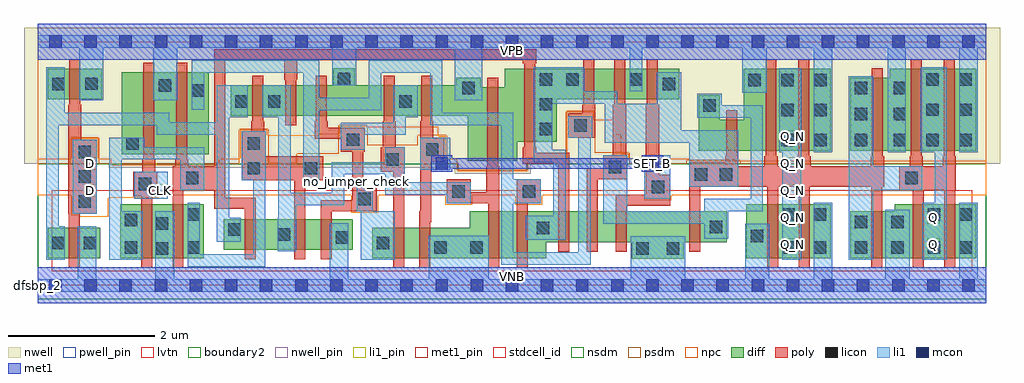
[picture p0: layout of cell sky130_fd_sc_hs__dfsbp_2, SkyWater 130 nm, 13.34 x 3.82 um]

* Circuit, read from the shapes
.subckt sky130_fd_sc_hs__dfsbp_2 CLK D Q Q_N SET_B VGND VNB VPB VPWR
XM1 VGND D n1 VNB sky130_fd_pr__nfet_01v8_lvt w=0.42 l=0.15
XM2 VGND CLK n2 VNB sky130_fd_pr__nfet_01v8_lvt w=0.74 l=0.15
XM3 n3 n2 VGND VNB sky130_fd_pr__nfet_01v8_lvt w=0.74 l=0.15
XM4 n4 n2 n1 VNB sky130_fd_pr__nfet_01v8_lvt w=0.42 l=0.15
XM5 n5 n3 n4 VNB sky130_fd_pr__nfet_01v8_lvt w=0.42 l=0.15
XM6 VGND n6 n5 VNB sky130_fd_pr__nfet_01v8_lvt w=0.42 l=0.15
XM7 n7 n4 n6 VNB sky130_fd_pr__nfet_01v8_lvt w=0.42 l=0.15
XM8 VGND SET_B n7 VNB sky130_fd_pr__nfet_01v8_lvt w=0.42 l=0.15
XM9 n8 n4 VGND VNB sky130_fd_pr__nfet_01v8_lvt w=0.64 l=0.15
XM10 n9 n3 n8 VNB sky130_fd_pr__nfet_01v8_lvt w=0.64 l=0.15
XM11 n10 n2 n9 VNB sky130_fd_pr__nfet_01v8_lvt w=0.42 l=0.15
XM12 n11 n12 n10 VNB sky130_fd_pr__nfet_01v8_lvt w=0.42 l=0.15
XM13 VGND SET_B n11 VNB sky130_fd_pr__nfet_01v8_lvt w=0.42 l=0.15
XM14 n12 n9 VGND VNB sky130_fd_pr__nfet_01v8_lvt w=0.42 l=0.15
XM15 Q_N n9 VGND VNB sky130_fd_pr__nfet_01v8_lvt w=0.74 l=0.15 m=2
XM16 VGND n9 n13 VNB sky130_fd_pr__nfet_01v8_lvt w=0.64 l=0.15
XM17 Q n13 VGND VNB sky130_fd_pr__nfet_01v8_lvt w=0.74 l=0.15 m=2
XM18 VPWR D n1 VPB sky130_fd_pr__pfet_01v8 w=0.42 l=0.15
XM19 VPWR CLK n2 VPB sky130_fd_pr__pfet_01v8 w=1.12 l=0.15
XM20 n3 n2 VPWR VPB sky130_fd_pr__pfet_01v8 w=1.12 l=0.15
XM21 n4 n3 n1 VPB sky130_fd_pr__pfet_01v8 w=0.42 l=0.15
XM22 n14 n2 n4 VPB sky130_fd_pr__pfet_01v8 w=0.42 l=0.15
XM23 VPWR n6 n14 VPB sky130_fd_pr__pfet_01v8 w=0.42 l=0.15
XM24 n6 n4 VPWR VPB sky130_fd_pr__pfet_01v8 w=0.42 l=0.15
XM25 VPWR SET_B n6 VPB sky130_fd_pr__pfet_01v8 w=0.42 l=0.15
XM26 n15 n4 VPWR VPB sky130_fd_pr__pfet_01v8 w=1 l=0.15
XM27 n9 n2 n15 VPB sky130_fd_pr__pfet_01v8 w=1 l=0.15
XM28 n16 n3 n9 VPB sky130_fd_pr__pfet_01v8 w=0.42 l=0.15
XM29 VPWR n12 n16 VPB sky130_fd_pr__pfet_01v8 w=0.42 l=0.15
XM30 n9 SET_B VPWR VPB sky130_fd_pr__pfet_01v8 w=0.42 l=0.15
XM31 VPWR n9 n12 VPB sky130_fd_pr__pfet_01v8 w=0.42 l=0.15
XM32 Q_N n9 VPWR VPB sky130_fd_pr__pfet_01v8 w=1.12 l=0.15 m=2
XM33 VPWR n9 n13 VPB sky130_fd_pr__pfet_01v8 w=1 l=0.15
XM34 Q n13 VPWR VPB sky130_fd_pr__pfet_01v8 w=1.12 l=0.15 m=2
.ends

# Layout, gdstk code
import gdstk
lib = gdstk.Library(unit=1e-6, precision=1e-09)
def R(c, l, rs):  # rectangles x0, y0, x1, y1
    for r in rs: c.add(gdstk.rectangle(r[:2], r[2:], *l))
def A(c, l, x, y, w, h, nx, ny, dx, dy):  # array of equal rectangles
    R(c, l, [(x+i*dx, y+j*dy, x+i*dx+w, y+j*dy+h) for i in range(nx) for j in range(ny)])
def P(c, l, *ps):  # polygons
    for p in ps: c.add(gdstk.Polygon(p, *l))
nwell_pin = (64, 16)
nwell = (64, 20)
diff = (65, 20)
poly = (66, 20)
licon = (66, 44)
li1_pin = (67, 16)
li1 = (67, 20)
mcon = (67, 44)
met1_pin = (68, 16)
met1 = (68, 20)
stdcell_id = (81, 4)
nsdm = (93, 44)
psdm = (94, 20)
npc = (95, 20)
pwell_pin = (122, 16)
lvtn = (125, 44)
boundary2 = (236, 0)

sky130_fd_sc_hs__dfsbp_2 = lib.new_cell('sky130_fd_sc_hs__dfsbp_2')
R(sky130_fd_sc_hs__dfsbp_2, nwell_pin, [(0,3.085,12.96,3.33)])
P(sky130_fd_sc_hs__dfsbp_2, nwell, [(13.15,3.52),(-0.19,3.52),(-0.19,1.66),(0.965,1.66),(0.965,1.61),(5.695,1.61),(5.695,1.525),(6.735,1.525),(6.735,1.66),(13.15,1.66)])
R(sky130_fd_sc_hs__dfsbp_2, diff, [(0.135,0.37,0.855,0.79), (1.125,0.37,2.27,1.11), (9.685,0.37,10.835,1.11), (2.54,0.485,4.3,0.905), (1.145,1.79,2.335,2.91), (0.135,2.54,0.875,2.96)])
P(sky130_fd_sc_hs__dfsbp_2, diff, [(8.765,2.96),(6.38,2.96),(6.38,2.705),(6.05,2.705),(6.05,2.84),(5.72,2.84),(5.72,2.735),(4.33,2.735),(4.33,2.965),(4.04,2.965),(4.04,2.735),(2.635,2.735),(2.635,2.315),(5.875,2.315),(5.875,1.705),(6.555,1.705),(6.555,1.96),(7.09,1.96),(7.09,2.54),(8.765,2.54)],
  [(9.415,1.01),(5.905,1.01),(5.905,0.79),(4.57,0.79),(4.57,0.37),(6.945,0.37),(6.945,0.59),(8.12,0.59),(8.12,0.36),(8.825,0.36),(8.825,0.59),(9.415,0.59)],
  [(10.835,2.96),(9.65,2.96),(9.65,2.26),(9.32,2.26),(9.32,2.6),(9.035,2.6),(9.035,1.84),(10.835,1.84)],
  [(12.825,2.96),(11.64,2.96),(11.64,2.84),(11.105,2.84),(11.105,1.84),(12.825,1.84)],
  [(12.825,1.11),(11.71,1.11),(11.71,1.01),(11.105,1.01),(11.105,0.37),(12.825,0.37)])
P(sky130_fd_sc_hs__dfsbp_2, poly, [(5.555,2.02),(5.405,2.02),(5.405,2.24),(5.39,2.24),(5.39,2.865),(5.24,2.865),(5.24,2.24),(5.225,2.24),(5.225,1.015),(5.215,1.015),(5.215,0.24),(5.365,0.24),(5.365,0.865),(5.375,0.865),(5.375,1.69),(5.555,1.69)],
  [(5.015,1.885),(4.89,1.885),(4.89,2.24),(4.875,2.24),(4.875,2.865),(4.725,2.865),(4.725,2.24),(4.71,2.24),(4.71,1.885),(4.685,1.885),(4.685,1.555),(4.855,1.555),(4.855,0.24),(5.005,0.24),(5.005,1.555),(5.015,1.555)],
  [(7.265,1.81),(6.81,1.81),(6.81,1.885),(6.795,1.885),(6.795,3.035),(6.81,3.035),(6.81,3.225),(2.41,3.225),(2.41,1.63),(2.055,1.63),(2.055,1.715),(2.04,1.715),(2.04,3.04),(1.89,3.04),(1.89,1.715),(1.875,1.715),(1.875,1.63),(1.84,1.63),(1.84,0.24),(1.99,0.24),(1.99,1.3),(2.41,1.3),(2.41,1.045),(2.825,1.045),(2.825,0.355),(2.975,0.355),(2.975,1.195),(2.56,1.195),(2.56,3.075),(3.365,3.075),(3.365,2.81),(3.38,2.81),(3.38,2.185),(3.53,2.185),(3.53,2.81),(3.545,2.81),(3.545,3.075),(6.63,3.075),(6.63,3.035),(6.645,3.035),(6.645,1.885),(6.63,1.885),(6.63,1.66),(7.115,1.66),(7.115,0.46),(7.265,0.46)],
  [(7.62,2.465),(7.605,2.465),(7.605,3.09),(7.455,3.09),(7.455,2.465),(7.44,2.465),(7.44,2.35),(7.25,2.35),(7.25,2.02),(7.62,2.02)],
  [(8.055,1.78),(8.04,1.78),(8.04,2.465),(8.025,2.465),(8.025,3.09),(7.875,3.09),(7.875,2.465),(7.86,2.465),(7.86,1.78),(7.725,1.78),(7.725,1.6),(7.505,1.6),(7.505,0.46),(7.655,0.46),(7.655,1.45),(8.055,1.45)],
  [(8.64,1.51),(8.49,1.51),(8.49,2.465),(8.475,2.465),(8.475,3.09),(8.325,3.09),(8.325,2.465),(8.31,2.465),(8.31,1.24),(7.895,1.24),(7.895,0.46),(8.045,0.46),(8.045,1.09),(8.64,1.09)],
  [(11.565,1.765),(11.55,1.765),(11.55,2.97),(11.4,2.97),(11.4,1.765),(11.385,1.765),(11.385,1.63),(10.56,1.63),(10.56,1.765),(10.545,1.765),(10.545,3.09),(10.395,3.09),(10.395,1.765),(10.38,1.765),(10.38,1.63),(10.11,1.63),(10.11,1.765),(10.095,1.765),(10.095,3.09),(9.945,3.09),(9.945,1.765),(9.93,1.765),(9.93,1.63),(9.575,1.63),(9.575,1.765),(9.56,1.765),(9.56,2.39),(9.41,2.39),(9.41,1.765),(9.395,1.765),(9.395,1.68),(8.9,1.68),(8.9,0.46),(9.05,0.46),(9.05,1.35),(9.97,1.35),(9.97,0.24),(10.12,0.24),(10.12,1.35),(10.4,1.35),(10.4,0.24),(10.55,0.24),(10.55,1.35),(11.39,1.35),(11.39,0.24),(11.54,0.24),(11.54,1.35),(11.565,1.35)],
  [(12.545,1.765),(12.53,1.765),(12.53,3.09),(12.38,3.09),(12.38,1.765),(12.365,1.765),(12.365,1.63),(12.095,1.63),(12.095,1.765),(12.08,1.765),(12.08,3.09),(11.93,3.09),(11.93,1.765),(11.915,1.765),(11.915,1.63),(11.775,1.63),(11.775,1.3),(11.96,1.3),(11.96,0.24),(12.11,0.24),(12.11,1.3),(12.39,1.3),(12.39,0.24),(12.54,0.24),(12.54,1.3),(12.545,1.3)],
  [(6.305,1.63),(6.29,1.63),(6.29,2.835),(6.14,2.835),(6.14,1.63),(6.125,1.63),(6.125,1.27),(5.915,1.27),(5.915,1.45),(5.585,1.45),(5.585,1.12),(6.155,1.12),(6.155,0.24),(6.305,0.24)],
  [(6.875,1.45),(6.545,1.45),(6.545,0.24),(6.695,0.24),(6.695,1.12),(6.875,1.12)],
  [(4.63,1.345),(4.445,1.345),(4.445,1.825),(4.47,1.825),(4.47,2.155),(3.965,2.155),(3.965,2.24),(3.95,2.24),(3.95,2.865),(3.8,2.865),(3.8,2.24),(3.785,2.24),(3.785,2.005),(4.14,2.005),(4.14,1.825),(4.295,1.825),(4.295,1.165),(3.865,1.165),(3.865,0.355),(4.015,0.355),(4.015,1.015),(4.63,1.015)],
  [(3.9,1.765),(3.115,1.765),(3.115,2.105),(3.095,2.105),(3.095,2.24),(3.08,2.24),(3.08,2.865),(2.93,2.865),(2.93,2.24),(2.915,2.24),(2.915,2.105),(2.785,2.105),(2.785,1.435),(3.505,1.435),(3.505,0.355),(3.655,0.355),(3.655,1.435),(3.9,1.435)],
  [(1.63,1.55),(1.605,1.55),(1.605,1.715),(1.59,1.715),(1.59,3.04),(1.44,3.04),(1.44,1.715),(1.425,1.715),(1.425,1.55),(1.3,1.55),(1.3,1.22),(1.41,1.22),(1.41,0.24),(1.56,0.24),(1.56,1.22),(1.63,1.22)],
  [(0.805,1.99),(0.595,1.99),(0.595,2.465),(0.58,2.465),(0.58,3.09),(0.43,3.09),(0.43,2.465),(0.415,2.465),(0.415,0.98),(0.42,0.98),(0.42,0.24),(0.57,0.24),(0.57,0.98),(0.805,0.98)])
A(sky130_fd_sc_hs__dfsbp_2, licon, 11.165, 0.43, 0.17, 0.17, 3, 1, 0.5, 0)
A(sky130_fd_sc_hs__dfsbp_2, licon, 0.555, 1.06, 0.17, 0.17, 1, 3, 0, 0.34)
A(sky130_fd_sc_hs__dfsbp_2, licon, 11.165, 1.9, 0.17, 0.17, 1, 3, 0, 0.355)
A(sky130_fd_sc_hs__dfsbp_2, licon, 11.695, 1.9, 0.17, 0.17, 3, 1, 0.45, 0)
A(sky130_fd_sc_hs__dfsbp_2, licon, 6.86, 2.05, 0.17, 0.17, 1, 3, 0, 0.34)
A(sky130_fd_sc_hs__dfsbp_2, licon, 9.71, 2.72, 0.17, 0.17, 3, 1, 0.45, 0)
R(sky130_fd_sc_hs__dfsbp_2, licon, [(1.615,0.42,1.785,0.59), (8.18,0.42,8.35,0.59), (8.595,0.42,8.765,0.59), (1.185,0.43,1.355,0.6), (2.045,0.43,2.215,0.6), (5.42,0.43,5.59,0.6), (5.91,0.43,6.08,0.6), (10.175,0.43,10.345,0.6), (10.605,0.43,10.775,0.6), (12.595,0.43,12.765,0.6), (0.195,0.495,0.365,0.665), (0.625,0.495,0.795,0.665), (4.63,0.495,4.8,0.665), (4.07,0.57,4.24,0.74), (9.745,0.59,9.915,0.76), (3.28,0.61,3.45,0.78), (2.6,0.675,2.77,0.845), (6.82,0.7,6.99,0.87), (9.185,0.715,9.355,0.885), (1.615,0.76,1.785,0.93), (11.165,0.78,11.335,0.95), (11.665,0.78,11.835,0.95), (1.185,0.805,1.355,0.975), (2.045,0.88,2.215,1.05), (10.175,0.88,10.345,1.05), (10.605,0.88,10.775,1.05), (12.165,0.88,12.335,1.05), (12.595,0.88,12.765,1.05), (4.38,1.095,4.55,1.265), (5.665,1.2,5.835,1.37), (6.625,1.2,6.795,1.37), (8.39,1.26,8.56,1.43), (1.38,1.3,1.55,1.47), (2.025,1.38,2.195,1.55), (11.855,1.38,12.025,1.55), (8.98,1.43,9.15,1.6), (9.32,1.43,9.49,1.6), (2.865,1.515,3.035,1.685), (3.65,1.515,3.82,1.685), (7.805,1.53,7.975,1.7), (4.765,1.635,4.935,1.805), (5.305,1.77,5.475,1.94), (1.205,1.85,1.375,2.02), (2.865,1.855,3.035,2.025), (10.16,1.9,10.33,2.07), (10.61,1.9,10.78,2.07), (4.22,1.905,4.39,2.075), (7.33,2.1,7.5,2.27), (11.695,2.255,11.865,2.425), (10.16,2.31,10.33,2.48), (10.61,2.31,10.78,2.48), (12.145,2.315,12.315,2.485), (12.595,2.315,12.765,2.485), (9.095,2.37,9.265,2.54), (2.695,2.43,2.865,2.6), (3.145,2.43,3.315,2.6), (4.94,2.43,5.11,2.6), (2.105,2.58,2.275,2.75), (5.8,2.61,5.97,2.78), (11.695,2.61,11.865,2.78), (1.655,2.645,1.825,2.815), (0.195,2.665,0.365,2.835), (8.54,2.665,8.71,2.835), (0.645,2.67,0.815,2.84), (7.22,2.73,7.39,2.9), (8.09,2.73,8.26,2.9), (12.145,2.73,12.315,2.9), (12.595,2.73,12.765,2.9), (4.1,2.735,4.27,2.905)])
A(sky130_fd_sc_hs__dfsbp_2, li1_pin, 10.235, 0.47, 0.17, 0.17, 1, 5, 0, 0.37)
R(sky130_fd_sc_hs__dfsbp_2, li1_pin, [(12.155,0.47,12.325,0.64), (12.155,0.84,12.325,1.01), (0.635,1.21,0.805,1.38), (1.595,1.21,1.765,1.38), (0.635,1.58,0.805,1.75)])
R(sky130_fd_sc_hs__dfsbp_2, li1, [(0.475,0.98,0.805,1.99), (1.315,1.18,1.775,1.55), (8.285,1.18,8.64,1.78), (5.225,1.58,5.635,2.02)])
P(sky130_fd_sc_hs__dfsbp_2, li1, [(0.565,2.53),(0.565,3.245),(0,3.245),(0,3.415),(12.96,3.415),(12.96,3.245),(12.845,3.245),(12.845,1.82),(12.595,1.82),(12.595,3.245),(11.865,3.245),(11.865,1.82),(11.615,1.82),(11.615,3.245),(10.86,3.245),(10.86,1.82),(10.605,1.82),(10.605,3.245),(9.96,3.245),(9.96,2.63),(9.63,2.63),(9.63,3.245),(8.26,3.245),(8.26,2.65),(8.09,2.65),(8.09,3.245),(6.07,3.245),(6.07,2.53),(5.7,2.53),(5.7,3.245),(4.35,3.245),(4.35,2.735),(4.02,2.735),(4.02,3.245),(1.905,3.245),(1.905,2.53),(1.575,2.53),(1.575,3.245),(0.895,3.245),(0.895,2.53)],
  [(8.1,0.085),(8.1,0.67),(8.845,0.67),(8.845,0.085),(9.665,0.085),(9.665,0.84),(9.995,0.84),(9.995,0.085),(10.605,0.085),(10.605,1.13),(10.855,1.13),(10.855,0.085),(11.585,0.085),(11.585,1.03),(11.915,1.03),(11.915,0.085),(12.595,0.085),(12.595,1.13),(12.845,1.13),(12.845,0.085),(12.96,0.085),(12.96,-0.085),(0,-0.085),(0,0.085),(0.545,0.085),(0.545,0.81),(0.795,0.81),(0.795,0.085),(1.605,0.085),(1.605,1.01),(1.865,1.01),(1.865,0.085),(3.99,0.085),(3.99,0.845),(4.24,0.845),(4.24,0.085),(5.34,0.085),(5.34,0.68),(6.16,0.68),(6.16,0.085)],
  [(11.085,2.86),(11.415,2.86),(11.415,1.63),(12.085,1.63),(12.085,1.3),(11.415,1.3),(11.415,0.35),(11.085,0.35)],
  [(7.725,0.84),(7.725,1.78),(8.055,1.78),(8.055,1.01),(9.105,1.01),(9.105,1.18),(9.74,1.18),(9.74,2.29),(9.015,2.29),(9.015,2.62),(9.345,2.62),(9.345,2.46),(9.91,2.46),(9.91,1.01),(9.435,1.01),(9.435,0.635),(9.105,0.635),(9.105,0.84)],
  [(7.75,1.95),(7.75,2.48),(7.03,2.48),(7.03,1.85),(7.215,1.85),(7.215,0.62),(6.67,0.62),(6.67,0.95),(7.045,0.95),(7.045,1.68),(6.78,1.68),(6.78,2.98),(7.47,2.98),(7.47,2.65),(7.92,2.65),(7.92,2.48),(8.46,2.48),(8.46,2.915),(8.79,2.915),(8.79,2.12),(9.57,2.12),(9.57,1.35),(8.9,1.35),(8.9,1.95)],
  [(3.285,2.295),(3.065,2.295),(3.065,2.735),(3.455,2.735),(3.455,1.265),(4.015,1.265),(4.015,1.685),(4.75,1.685),(4.75,1.885),(5.015,1.885),(5.015,1.41),(5.915,1.41),(5.915,1.12),(5.585,1.12),(5.585,1.24),(4.75,1.24),(4.75,1.515),(4.185,1.515),(4.185,1.095),(3.53,1.095),(3.53,0.465),(3.28,0.465),(3.28,0.925),(3.285,0.925)],
  [(1.455,1.89),(2.275,1.89),(2.275,1.3),(1.945,1.3),(1.945,1.72),(1.145,1.72),(1.145,1.01),(1.435,1.01),(1.435,0.35),(0.975,0.35),(0.975,2.02),(1.455,2.02)],
  [(1.625,2.06),(1.625,2.19),(0.285,2.19),(0.285,0.81),(0.365,0.81),(0.365,0.35),(0.115,0.35),(0.115,2.98),(0.365,2.98),(0.365,2.36),(1.795,2.36),(1.795,2.23),(2.445,2.23),(2.445,2.735),(2.865,2.735),(2.865,2.295),(2.615,2.295),(2.615,0.925),(2.77,0.925),(2.77,0.595),(2.445,0.595),(2.445,2.06)],
  [(3.845,2.565),(4.52,2.565),(4.52,3.075),(5.53,3.075),(5.53,2.36),(6.5,2.36),(6.5,1.45),(6.875,1.45),(6.875,1.12),(6.5,1.12),(6.5,0.45),(7.385,0.45),(7.385,2.02),(7.25,2.02),(7.25,2.31),(7.58,2.31),(7.58,2.02),(7.555,2.02),(7.555,0.28),(6.33,0.28),(6.33,2.19),(5.36,2.19),(5.36,2.905),(4.69,2.905),(4.69,2.395),(3.845,2.395),(3.845,1.435),(3.625,1.435),(3.625,2.905),(2.275,2.905),(2.275,2.4),(2.105,2.4),(2.105,3.075),(3.845,3.075)],
  [(5.03,2.055),(4.47,2.055),(4.47,1.855),(4.14,1.855),(4.14,2.225),(4.86,2.225),(4.86,2.735),(5.19,2.735),(5.19,2.295),(5.03,2.295)],
  [(12.065,1.82),(12.065,2.98),(12.425,2.98),(12.425,0.35),(12.085,0.35),(12.085,1.13),(12.255,1.13),(12.255,1.82)],
  [(10.175,0.35),(10.175,1.82),(10.13,1.82),(10.13,2.97),(10.435,2.97),(10.435,0.35)],
  [(2.215,0.425),(2.94,0.425),(2.94,1.435),(2.785,1.435),(2.785,2.105),(3.115,2.105),(3.115,1.435),(3.11,1.435),(3.11,0.255),(2.045,0.255),(2.045,1.13),(2.215,1.13)],
  [(4.355,1.015),(4.355,1.345),(4.58,1.345),(4.58,1.015),(4.88,1.015),(4.88,0.35),(4.41,0.35),(4.41,1.015)])
A(sky130_fd_sc_hs__dfsbp_2, mcon, 0.155, -0.085, 0.17, 0.17, 27, 2, 0.48, 3.33)
R(sky130_fd_sc_hs__dfsbp_2, mcon, [(5.435,1.58,5.605,1.75), (8.315,1.58,8.485,1.75)])
R(sky130_fd_sc_hs__dfsbp_2, met1_pin, [(0,0,12.96,0.245), (8.315,1.58,8.485,1.75), (0,3.085,12.96,3.33)])
R(sky130_fd_sc_hs__dfsbp_2, met1, [(0,-0.245,12.96,0.245), (0,3.085,12.96,3.575)])
P(sky130_fd_sc_hs__dfsbp_2, met1, [(5.665,1.735),(8.255,1.735),(8.255,1.78),(8.545,1.78),(8.545,1.55),(8.255,1.55),(8.255,1.595),(5.665,1.595),(5.665,1.55),(5.375,1.55),(5.375,1.78),(5.665,1.78)])
R(sky130_fd_sc_hs__dfsbp_2, stdcell_id, [(0,0,12.96,3.33)])
P(sky130_fd_sc_hs__dfsbp_2, nsdm, [(12.96,1.66),(6.685,1.66),(6.685,1.575),(5.745,1.575),(5.745,1.66),(0,1.66),(0,-0.19),(12.96,-0.19)])
P(sky130_fd_sc_hs__dfsbp_2, psdm, [(12.96,3.52),(0,3.52),(0,1.66),(0.445,1.66),(0.445,2.02),(0.835,2.02),(0.835,1.66),(2.755,1.66),(2.755,2.135),(3.145,2.135),(3.145,1.66),(3.54,1.66),(3.54,1.795),(4.11,1.795),(4.11,2.185),(4.5,2.185),(4.5,1.915),(5.195,1.915),(5.195,2.05),(5.585,2.05),(5.585,1.66),(5.745,1.66),(5.745,1.575),(6.685,1.575),(6.685,1.66),(7.22,1.66),(7.22,2.38),(7.61,2.38),(7.61,1.81),(8.085,1.81),(8.085,1.66),(8.87,1.66),(8.87,1.71),(9.6,1.71),(9.6,1.66),(12.96,1.66)])
P(sky130_fd_sc_hs__dfsbp_2, npc, [(12.96,1.7),(8.895,1.7),(8.895,1.73),(8.075,1.73),(8.075,1.8),(7.97,1.8),(7.97,2.065),(7.865,2.065),(7.865,2.265),(7.6,2.265),(7.6,2.37),(7.23,2.37),(7.23,1.73),(6.695,1.73),(6.695,1.565),(5.735,1.565),(5.735,1.73),(5.575,1.73),(5.575,2.04),(5.47,2.04),(5.47,2.17),(4.49,2.17),(4.49,2.175),(4.12,2.175),(4.12,2.07),(3.855,2.07),(3.855,2.05),(3.135,2.05),(3.135,2.125),(2.765,2.125),(2.765,1.73),(2.475,1.73),(2.475,1.65),(1.005,1.65),(1.005,1.73),(0.825,1.73),(0.825,2.01),(0.455,2.01),(0.455,1.73),(0,1.73),(0,1.23),(0.455,1.23),(0.455,0.96),(0.56,0.96),(0.56,0.935),(0.96,0.935),(0.96,1.2),(1.65,1.2),(1.65,1.23),(4.28,1.23),(4.28,0.995),(4.65,0.995),(4.65,1.23),(5.565,1.23),(5.565,1.1),(5.935,1.1),(5.935,1.23),(6.525,1.23),(6.525,1.1),(6.895,1.1),(6.895,1.23),(8.29,1.23),(8.29,1.16),(8.66,1.16),(8.66,1.23),(12.96,1.23)])
R(sky130_fd_sc_hs__dfsbp_2, pwell_pin, [(0,0,12.96,0.245)])
R(sky130_fd_sc_hs__dfsbp_2, lvtn, [(0.19,0.19,12.77,1.3)])
R(sky130_fd_sc_hs__dfsbp_2, boundary2, [(0,0,12.96,3.33)])
sky130_fd_sc_hs__dfsbp_2.add(gdstk.Label('dfsbp_2', (0,0), layer=83, texttype=44))
sky130_fd_sc_hs__dfsbp_2.add(gdstk.Label('no_jumper_check', (4.36,1.425), layer=83, texttype=44))
sky130_fd_sc_hs__dfsbp_2.add(gdstk.Label('no_jumper_check', (3.495,1.54), layer=83, texttype=44))
sky130_fd_sc_hs__dfsbp_2.add(gdstk.Label('VNB', (6.48,0.123), layer=64, texttype=59))
sky130_fd_sc_hs__dfsbp_2.add(gdstk.Label('VPB', (6.48,3.208), layer=64, texttype=5))
sky130_fd_sc_hs__dfsbp_2.add(gdstk.Label('SET_B', (8.4,1.665), layer=68, texttype=5))
sky130_fd_sc_hs__dfsbp_2.add(gdstk.Label('VPWR', (6.48,3.208), layer=68, texttype=5))
sky130_fd_sc_hs__dfsbp_2.add(gdstk.Label('VGND', (6.48,0.123), layer=68, texttype=5))
sky130_fd_sc_hs__dfsbp_2.add(gdstk.Label('CLK', (1.68,1.295), layer=67, texttype=5))
sky130_fd_sc_hs__dfsbp_2.add(gdstk.Label('D', (0.72,1.295), layer=67, texttype=5))
sky130_fd_sc_hs__dfsbp_2.add(gdstk.Label('D', (0.72,1.665), layer=67, texttype=5))
sky130_fd_sc_hs__dfsbp_2.add(gdstk.Label('Q_N', (10.32,0.555), layer=67, texttype=5))
sky130_fd_sc_hs__dfsbp_2.add(gdstk.Label('Q_N', (10.32,0.925), layer=67, texttype=5))
sky130_fd_sc_hs__dfsbp_2.add(gdstk.Label('Q_N', (10.32,1.295), layer=67, texttype=5))
sky130_fd_sc_hs__dfsbp_2.add(gdstk.Label('Q_N', (10.32,1.665), layer=67, texttype=5))
sky130_fd_sc_hs__dfsbp_2.add(gdstk.Label('Q_N', (10.32,2.035), layer=67, texttype=5))
sky130_fd_sc_hs__dfsbp_2.add(gdstk.Label('Q', (12.24,0.555), layer=67, texttype=5))
sky130_fd_sc_hs__dfsbp_2.add(gdstk.Label('Q', (12.24,0.925), layer=67, texttype=5))

lib.write_gds('sky130_fd_sc_hs__dfsbp_2.gds')
